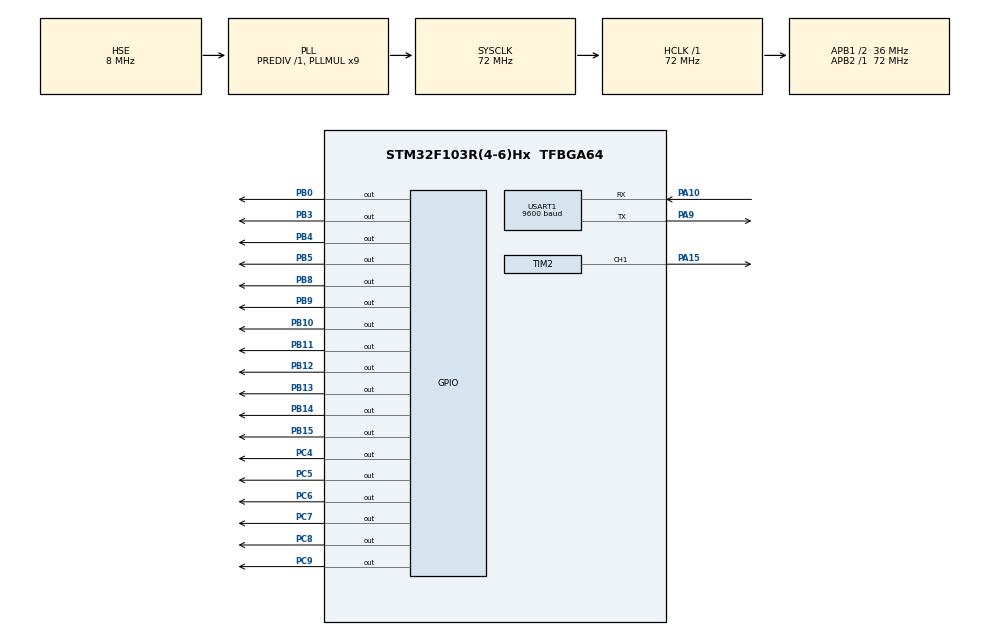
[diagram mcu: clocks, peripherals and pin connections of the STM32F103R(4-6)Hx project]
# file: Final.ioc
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Mcu.Family=STM32F1
Mcu.Name=STM32F103R(4-6)Hx
Mcu.Package=TFBGA64
NVIC.PriorityGroup=NVIC_PRIORITYGROUP_4
NVIC.TIM2_IRQn=true\:0\:0\:false\:false\:true\:true\:true\:true
PA10.Mode=Asynchronous
PA10.Signal=USART1_RX
PA15.Signal=S_TIM2_CH1_ETR
PA9.Mode=Asynchronous
PA9.Signal=USART1_TX
PB0.GPIO_PuPd=GPIO_PULLUP
PB0.Signal=GPIO_Output
PB10.GPIO_PuPd=GPIO_PULLUP
PB10.Signal=GPIO_Output
PB11.GPIO_PuPd=GPIO_PULLUP
PB11.Signal=GPIO_Output
PB12.GPIO_PuPd=GPIO_PULLUP
PB12.Signal=GPIO_Output
PB13.GPIO_PuPd=GPIO_PULLUP
PB13.Signal=GPIO_Output
PB14.GPIO_PuPd=GPIO_PULLUP
PB14.Signal=GPIO_Output
PB15.GPIO_PuPd=GPIO_PULLUP
PB15.Signal=GPIO_Output
PB3.GPIO_PuPd=GPIO_PULLUP
PB3.Signal=GPIO_Output
PB4.GPIO_PuPd=GPIO_PULLUP
PB4.Signal=GPIO_Output
PB5.GPIO_PuPd=GPIO_PULLUP
PB5.Signal=GPIO_Output
PB8.GPIO_PuPd=GPIO_PULLUP
PB8.Signal=GPIO_Output
PB9.GPIO_PuPd=GPIO_PULLUP
PB9.Signal=GPIO_Output
PC14-OSC32_IN.Mode=LSE-External-Oscillator
PC14-OSC32_IN.Signal=RCC_OSC32_IN
PC15-OSC32_OUT.Mode=LSE-External-Oscillator
PC15-OSC32_OUT.Signal=RCC_OSC32_OUT
PC4.Signal=GPIO_Output
PC5.GPIO_PuPd=GPIO_PULLUP
PC5.Signal=GPIO_Output
PC6.Signal=GPIO_Output
PC7.Signal=GPIO_Output
PC8.Signal=GPIO_Output
PC9.Signal=GPIO_Output
PD0-OSC_IN.Mode=HSE-External-Oscillator
PD0-OSC_IN.Signal=RCC_OSC_IN
PD1-OSC_OUT.Mode=HSE-External-Oscillator
PD1-OSC_OUT.Signal=RCC_OSC_OUT
ProjectManager.HeapSize=0x200
ProjectManager.StackSize=0x400
ProjectManager.TargetToolchain=MDK-ARM V5
RCC.AHBFreq_Value=72000000
RCC.APB1CLKDivider=RCC_HCLK_DIV2
RCC.APB1Freq_Value=36000000
RCC.APB1TimFreq_Value=72000000
RCC.APB2Freq_Value=72000000
RCC.APB2TimFreq_Value=72000000
RCC.HCLKFreq_Value=72000000
RCC.PLLMUL=RCC_PLL_MUL9
RCC.PLLSourceVirtual=RCC_PLLSOURCE_HSE
RCC.SYSCLKFreq_VALUE=72000000
RCC.SYSCLKSource=RCC_SYSCLKSOURCE_PLLCLK
RCC.USBFreq_Value=72000000
SH.S_TIM2_CH1_ETR.0=TIM2_CH1,PWM Generation1 CH1
TIM1.Prescaler=71
TIM2.Channel-PWM\ Generation1\ CH1=TIM_CHANNEL_1
TIM2.Period=63999
TIM2.Prescaler=4499
TIM2.Pulse-PWM\ Generation1\ CH1=47999
USART1.BaudRate=9600
USART1.VirtualMode=VM_ASYNC
VP_SYS_VS_ND.Mode=No_Debug
VP_TIM1_VS_ClockSourceINT.Mode=Internal
VP_TIM2_VS_ClockSourceINT.Mode=Internal
board=custom

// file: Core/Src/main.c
/* USER CODE BEGIN Header */
/**
  ******************************************************************************
  * @file           : main.c
  * @brief          : Main program body
  ******************************************************************************
  * @attention
  *
  * Copyright (c) 2023 STMicroelectronics.
  * All rights reserved.
  *
  * This software is licensed under terms that can be found in the LICENSE file
  * in the root directory of this software component.
  * If no LICENSE file comes with this software, it is provided AS-IS.
  *
  ******************************************************************************
  */
/* USER CODE END Header */
#include "main.h"
#include "tim.h"
#include "usart.h"
#include "gpio.h"

/* USER CODE BEGIN Includes */
#include "dht11.h"
#include "lcd1602.h"
#include "stdio.h"
#include "buzzer.h"
#include "relay.h"
#include "uart.h"
/* USER CODE END Includes */

/* USER CODE BEGIN PV */
uint8_t data;
/* USER CODE END PV */

void SystemClock_Config(void);

/* USER CODE BEGIN 0 */
DHT11_Data_TypeDef DHT11_Data;
char* info;
char* temp_info;
char* hum_info;
int HUM_toplimit = 40;
int HUM_bottomlimit = 25;
int TEMP_toplimit = 40;
int TEMP_bottomlimit = 20;
char text_temp[10]="temp_lim";
char text_hum[10]="hum_lim";
/* USER CODE END 0 */

int main(void)
{

  /* MCU Configuration--------------------------------------------------------*/

  /* Reset of all peripherals, Initializes the Flash interface and the Systick. */
  HAL_Init();

  /* Configure the system clock */
  SystemClock_Config();

  /* Initialize all configured peripherals */
  MX_GPIO_Init();
  MX_TIM1_Init();
  MX_TIM2_Init();
  MX_USART1_UART_Init();
  /* USER CODE BEGIN 2 */
	HAL_TIM_Base_Start_IT(&htim2);

	HAL_TIM_PWM_Start(&htim2,TIM_CHANNEL_1);
	LCD_Init();

		if (DHT11_ReadData(&DHT11_Data))
		{
			LCD_Clear();
			sprintf(info,"Temp:%d Hum:%d",DHT11_Data.temp_int,DHT11_Data.humi_int);
			LCD_Puts(0,0,info);
		}
		else
		{
			LCD_Clear();
			LCD_Puts(0,0,"Error!!!");
		}
  /* USER CODE END 2 */

  /* Infinite loop */
  /* USER CODE BEGIN WHILE */
	int temp_check =0;
	int hum_check =0;

  while (1)
  {
    /* USER CODE END WHILE */

    /* USER CODE BEGIN 3 */

		if (DHT11_ReadData(&DHT11_Data))
		{
			LCD_Clear();
			sprintf(info,"Temp:%d Hum:%d\r\n",DHT11_Data.temp_int,DHT11_Data.humi_int);
			LCD_Puts(0,0,info);

			if((DHT11_Data.temp_int>TEMP_toplimit)||(DHT11_Data.temp_int<TEMP_bottomlimit)||(DHT11_Data.humi_int<HUM_bottomlimit)||(DHT11_Data.humi_int>HUM_toplimit))
			{
					HAL_GPIO_WritePin(GPIOB, GPIO_PIN_0, GPIO_PIN_RESET);

					if(DHT11_Data.temp_int>TEMP_toplimit)
					{
						TEMP_DOWN_ON;
						TEMP_UP_OFF;
						if(temp_check != 1)
						{
							sprintf(temp_info,"Over Temp:%d\r\n",DHT11_Data.temp_int);
							uartx_write_text(&huart1,temp_info);
							temp_check =1;
						}

					}
					else if(DHT11_Data.temp_int<TEMP_bottomlimit)
					{
						TEMP_UP_ON;
						TEMP_DOWN_OFF;
						if(temp_check != 2)
						{
							sprintf(temp_info,"Low Temp:%d\r\n",DHT11_Data.temp_int);
							uartx_write_text(&huart1,temp_info);
							temp_check =2;
						}

					}
					else
					{
						TEMP_UP_OFF;
						TEMP_DOWN_OFF;

					}

					if(DHT11_Data.humi_int>HUM_toplimit)
					{
						HUM_DOWN_ON;
						HUM_UP_OFF;
						if(hum_check != 1)
						{
							sprintf(hum_info,"Over Hum:%d\r\n",DHT11_Data.humi_int);
							uartx_write_text(&huart1,hum_info);
							hum_check =1;
						}

					}
					else if(DHT11_Data.humi_int<HUM_bottomlimit)
					{
						HUM_UP_ON;
						HUM_DOWN_OFF;
						if(hum_check != 2)
						{
							sprintf(hum_info,"Low Hum:%d\r\n",DHT11_Data.humi_int);
							uartx_write_text(&huart1,hum_info);
							hum_check =2;
						}
					}
					else
					{
						HUM_UP_OFF;
						HUM_DOWN_OFF;
					}

			}
			else
			{
			HUM_UP_OFF;
			HUM_DOWN_OFF;
			TEMP_UP_OFF;
			TEMP_DOWN_OFF;

			if(temp_check != 0 || hum_check !=0)
			{
							uartx_write_text(&huart1,"Saved\r\n");
							temp_check =0;
							hum_check=0;
			}
			HAL_GPIO_WritePin(GPIOB, GPIO_PIN_0, GPIO_PIN_SET);
			}
		}
		else
		{
			LCD_Clear();
			LCD_Puts(0,0,"Error!!!");
		}

   }
  /* USER CODE END 3 */
}

void SystemClock_Config(void)
{
  RCC_OscInitTypeDef RCC_OscInitStruct = {0};
  RCC_ClkInitTypeDef RCC_ClkInitStruct = {0};

  /** Initializes the RCC Oscillators according to the specified parameters
  * in the RCC_OscInitTypeDef structure.
  */
  RCC_OscInitStruct.OscillatorType = RCC_OSCILLATORTYPE_HSE;
  RCC_OscInitStruct.HSEState = RCC_HSE_ON;
  RCC_OscInitStruct.HSEPredivValue = RCC_HSE_PREDIV_DIV1;
  RCC_OscInitStruct.HSIState = RCC_HSI_ON;
  RCC_OscInitStruct.PLL.PLLState = RCC_PLL_ON;
  RCC_OscInitStruct.PLL.PLLSource = RCC_PLLSOURCE_HSE;
  RCC_OscInitStruct.PLL.PLLMUL = RCC_PLL_MUL9;
  if (HAL_RCC_OscConfig(&RCC_OscInitStruct) != HAL_OK)
  {
    Error_Handler();
  }

  /** Initializes the CPU, AHB and APB buses clocks
  */
  RCC_ClkInitStruct.ClockType = RCC_CLOCKTYPE_HCLK|RCC_CLOCKTYPE_SYSCLK
                              |RCC_CLOCKTYPE_PCLK1|RCC_CLOCKTYPE_PCLK2;
  RCC_ClkInitStruct.SYSCLKSource = RCC_SYSCLKSOURCE_PLLCLK;
  RCC_ClkInitStruct.AHBCLKDivider = RCC_SYSCLK_DIV1;
  RCC_ClkInitStruct.APB1CLKDivider = RCC_HCLK_DIV2;
  RCC_ClkInitStruct.APB2CLKDivider = RCC_HCLK_DIV1;

  if (HAL_RCC_ClockConfig(&RCC_ClkInitStruct, FLASH_LATENCY_2) != HAL_OK)
  {
    Error_Handler();
  }
}

/* USER CODE BEGIN 4 */
void HAL_TIM_PeriodElapsedCallback(TIM_HandleTypeDef* htim)
{
    HAL_GPIO_TogglePin(GPIOC, GPIO_PIN_4);
}
/* USER CODE END 4 */

void Error_Handler(void)
{
  __disable_irq();
  while (1)
  {
  }
}
